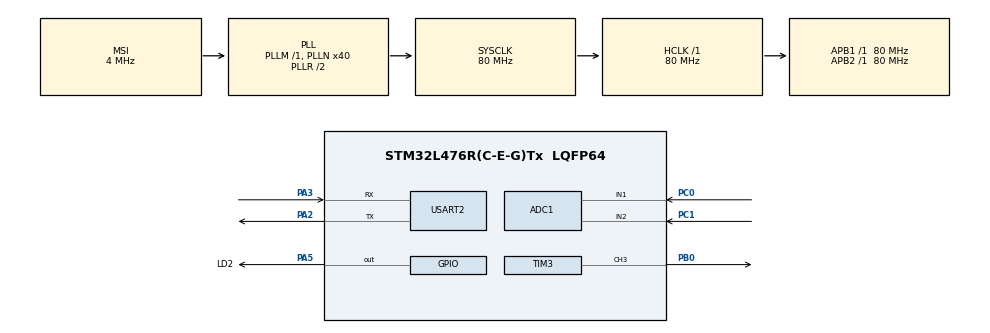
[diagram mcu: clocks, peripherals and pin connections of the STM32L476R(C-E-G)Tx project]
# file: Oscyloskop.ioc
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ADC1.Channel-2\#ChannelRegularConversion=ADC_CHANNEL_1
ADC1.Channel-3\#ChannelRegularConversion=ADC_CHANNEL_2
ADC1.ClockPrescaler=ADC_CLOCK_ASYNC_DIV8
ADC1.ContinuousConvMode=ENABLE
ADC1.DMAContinuousRequests=ENABLE
ADC1.EOCSelection=ADC_EOC_SINGLE_CONV
ADC1.EnableRegularConversion=ENABLE
ADC1.ExternalTrigConv=ADC_EXTERNALTRIG_T3_TRGO
ADC1.NbrOfConversion=2
ADC1.NbrOfConversionFlag=1
ADC1.OffsetNumber-2\#ChannelRegularConversion=ADC_OFFSET_NONE
ADC1.OffsetNumber-3\#ChannelRegularConversion=ADC_OFFSET_NONE
ADC1.Overrun=ADC_OVR_DATA_OVERWRITTEN
ADC1.OversamplingMode=ENABLE
ADC1.Rank-2\#ChannelRegularConversion=1
ADC1.Rank-3\#ChannelRegularConversion=2
ADC1.Ratio=ADC_OVERSAMPLING_RATIO_64
ADC1.RightBitShift=ADC_RIGHTBITSHIFT_6
ADC1.SamplingTime-2\#ChannelRegularConversion=ADC_SAMPLETIME_640CYCLES_5
ADC1.SamplingTime-3\#ChannelRegularConversion=ADC_SAMPLETIME_640CYCLES_5
ADC1.master=1
Dma.ADC1.0.Direction=DMA_PERIPH_TO_MEMORY
Dma.ADC1.0.Instance=DMA1_Channel1
Dma.ADC1.0.MemDataAlignment=DMA_MDATAALIGN_HALFWORD
Dma.ADC1.0.MemInc=DMA_MINC_ENABLE
Dma.ADC1.0.Mode=DMA_CIRCULAR
Dma.ADC1.0.PeriphDataAlignment=DMA_PDATAALIGN_HALFWORD
Dma.ADC1.0.PeriphInc=DMA_PINC_DISABLE
Dma.ADC1.0.Priority=DMA_PRIORITY_LOW
Dma.Request0=ADC1
Dma.Request1=USART2_TX
Dma.USART2_TX.1.Direction=DMA_MEMORY_TO_PERIPH
Dma.USART2_TX.1.Instance=DMA1_Channel7
Dma.USART2_TX.1.MemDataAlignment=DMA_MDATAALIGN_BYTE
Dma.USART2_TX.1.MemInc=DMA_MINC_ENABLE
Dma.USART2_TX.1.Mode=DMA_NORMAL
Dma.USART2_TX.1.PeriphDataAlignment=DMA_PDATAALIGN_BYTE
Dma.USART2_TX.1.PeriphInc=DMA_PINC_DISABLE
Dma.USART2_TX.1.Priority=DMA_PRIORITY_LOW
Mcu.Family=STM32L4
Mcu.Name=STM32L476R(C-E-G)Tx
Mcu.Package=LQFP64
NVIC.DMA1_Channel1_IRQn=true\:2\:0\:true\:false\:true\:false\:true\:true
NVIC.DMA1_Channel7_IRQn=true\:3\:0\:true\:false\:true\:true\:true\:true
NVIC.PriorityGroup=NVIC_PRIORITYGROUP_4
NVIC.TIM3_IRQn=true\:4\:0\:true\:false\:true\:true\:true\:true
NVIC.USART2_IRQn=true\:3\:0\:true\:false\:true\:true\:true\:true
PA2.Mode=Asynchronous
PA2.Signal=USART2_TX
PA3.Mode=Asynchronous
PA3.Signal=USART2_RX
PA5.GPIO_Label=LD2
PA5.Signal=GPIO_Output
PB0.Signal=S_TIM3_CH3
PC0.Signal=ADCx_IN1
PC1.Signal=ADCx_IN2
PC14-OSC32_IN\ (PC14).Mode=LSE-External-Oscillator
PC14-OSC32_IN\ (PC14).Signal=RCC_OSC32_IN
PC15-OSC32_OUT\ (PC15).Mode=LSE-External-Oscillator
PC15-OSC32_OUT\ (PC15).Signal=RCC_OSC32_OUT
ProjectManager.HeapSize=0x200
ProjectManager.StackSize=0x400
ProjectManager.TargetToolchain=STM32CubeIDE
RCC.ADCFreq_Value=32000000
RCC.AHBFreq_Value=80000000
RCC.APB1Freq_Value=80000000
RCC.APB1TimFreq_Value=80000000
RCC.APB2Freq_Value=80000000
RCC.APB2TimFreq_Value=80000000
RCC.CortexFreq_Value=80000000
RCC.HCLKFreq_Value=80000000
RCC.HSE_VALUE=8000000
RCC.HSI_VALUE=16000000
RCC.MSI_VALUE=4000000
RCC.PLLN=40
RCC.PLLSAI1N=16
RCC.SYSCLKFreq_VALUE=80000000
RCC.SYSCLKSource=RCC_SYSCLKSOURCE_PLLCLK
RCC.USBFreq_Value=32000000
RCC.VCOOutputFreq_Value=160000000
SH.ADCx_IN1.0=ADC1_IN1,IN1-Single-Ended
SH.ADCx_IN2.0=ADC1_IN2,IN2-Single-Ended
SH.S_TIM3_CH3.0=TIM3_CH3,PWM Generation3 CH3
TIM3.Channel-PWM\ Generation3\ CH3=TIM_CHANNEL_3
TIM3.Period=9
TIM3.Prescaler=100
TIM3.Pulse-PWM\ Generation3\ CH3=5
TIM3.TIM_MasterOutputTrigger=TIM_TRGO_UPDATE
USART2.OverrunDisableParam=ADVFEATURE_OVERRUN_DISABLE
USART2.VirtualMode-Asynchronous=VM_ASYNC
VP_ADC1_Vref_Input.Mode=IN-Vrefint
VP_TIM3_VS_ClockSourceINT.Mode=Internal
board=custom

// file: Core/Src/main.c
/* USER CODE BEGIN Header */
/**
  ******************************************************************************
  * @file           : main.c
  * @brief          : Main program body
  ******************************************************************************
  * @attention
  *
  * Copyright (c) 2024 STMicroelectronics.
  * All rights reserved.
  *
  * This software is licensed under terms that can be found in the LICENSE file
  * in the root directory of this software component.
  * If no LICENSE file comes with this software, it is provided AS-IS.
  *
  ******************************************************************************
  */
/* USER CODE END Header */
#include "main.h"
#include "adc.h"
#include "dma.h"
#include "tim.h"
#include "usart.h"
#include "gpio.h"

/* USER CODE BEGIN Includes */

#include <stdio.h>

#define ARM_MATH_CM4
#include "arm_math.h"

/* USER CODE END Includes */

/* USER CODE BEGIN PV */

#define FFT_BUFFER_SIZE 2048
#define SAMPLE_RATE 80000 // Częstotliwość próbkowania ADC w Hz
volatile static uint32_t adc_value[2][FFT_BUFFER_SIZE]; // Bufor do przechowywania danych z dwóch kanałów
uint32_t buffer1[FFT_BUFFER_SIZE];
uint32_t buffer2[FFT_BUFFER_SIZE];
float32_t fft_output_1[FFT_BUFFER_SIZE];
float32_t fft_output_2[FFT_BUFFER_SIZE];
float32_t fft_magnitude_1[FFT_BUFFER_SIZE]; // Tablica do przechowywania magnitudy FFT dla kanału 1
float32_t fft_magnitude_2[FFT_BUFFER_SIZE]; // Tablica do przechowywania magnitudy FFT dla kanału 2
arm_rfft_fast_instance_f32 fft_handler; // Inicjalizacja instancji FFT

#define DATA_SIZE 100 // Rozmiar bufora danych do wysłania przez UART
char data[DATA_SIZE]; // Bufor danych do wysłania przez UART
float32_t fft_output_1[FFT_BUFFER_SIZE];
float32_t fft_output_2[FFT_BUFFER_SIZE];

uint8_t Buffer_FFT_Status = 0; // Zmienna do śledzenia statusu bufora FFT
uint8_t Calculation_finished = 1; // Zmienna do śledzenia, czy obliczenia zostały zakończone

int buf_index = 0;
//uint16_t data[20];
volatile static uint16_t value[2];

/* USER CODE END PV */

void SystemClock_Config(void);
/* USER CODE BEGIN PFP */
void process_fft_data(uint32_t *adc_data, float32_t *fft_output, float32_t *fft_magnitude, uint32_t fft_size, float sample_rate);
/* USER CODE END PFP */

/* USER CODE BEGIN 0 */

int __io_putchar(int ch)
{
    if (ch == '\n') {
        uint8_t ch2 = '\r';
        HAL_UART_Transmit(&huart2, &ch2, 1, HAL_MAX_DELAY);
    }

    HAL_UART_Transmit(&huart2, (uint8_t*)&ch, 1, HAL_MAX_DELAY);
    return 1;
}
void process_fft_data(uint32_t *adc_data, float32_t *fft_output, float32_t *fft_magnitude, uint32_t fft_size, float sample_rate)
{
	//if(Buffer_FFT_Status==1)
	      //{
	// 1. Stosuje FFT na dane z ADC

    arm_rfft_fast_f32(&fft_handler, (float32_t*)adc_data, fft_output, 0);

    // 2. Wydzielenie wartości rzeczywistej i urojonej
        float32_t real_values[fft_size/2];
        float32_t imag_values[fft_size/2];
        for (int i = 0; i < fft_size/2; i++) {
            real_values[i] = fft_output[2*i];
            imag_values[i] = fft_output[2*i + 1];
        }

    // 3. Oblicza przesunięcie fazowe dla każdego prążka
        float32_t phase_shift[fft_size/2];
        for (int i = 0; i < fft_size/2; i++) {
            phase_shift[i] = atan2(imag_values[i], real_values[i]);
        }

    // 4. Oblicza moduł (magnitudę) FFT z wartości rzeczywistej i urojonej dla każdego z prążków
    arm_cmplx_mag_f32(fft_output, fft_magnitude, fft_size);

    // 5. Znajduje dominującą częstotliwość
    uint32_t maxIndex;
    float32_t maxValue;
    arm_max_f32(fft_magnitude, fft_size, &maxValue, &maxIndex);
    float32_t dominant_frequency = (float)maxIndex * (sample_rate / fft_size);

    // 6. Przesunięcie fazowe maksymalnego prążka
    float32_t max_phase_shift = phase_shift[maxIndex];
    printf("Przesunięcie fazowe maksymalnego prążka: %f rad\n", max_phase_shift);
    printf("Dominująca częstotliwość: %f Hz\n", dominant_frequency);

    // 7. Filtruj wyniki FFT
    /*
    float32_t threshold = 0.5; // Ustaw próg na odpowiednią wartość
    for (int i = 0; i < FFT_BUFFER_SIZE; i++) {
        if (fft_magnitude[i] < threshold) {
            fft_magnitude[i] = 0;
        }
    }*/
    /*Informacja o zakończeniu obliczeń*/
    //Calculation_finished=1;
    /*Zerowanie wartości maksymalnej*/
    //maxValue=0;
}
//}

void collect_adc_data() {

	buffer1[buf_index] = value[0];
	//printf("%u \n", value[0]);
	buffer2[buf_index] = value[1];
	buf_index = (buf_index + 1) % FFT_BUFFER_SIZE;

}

//uint16_t data[20];
//volatile static uint16_t value[2];
//HAL_UART_TxCpltCallback //analogiczna funkcja, dane są wysyłane po zakończeniu poprzedniej transmisji
void HAL_UART_TxHalfCpltCallback(UART_HandleTypeDef *huart)	//dane są przygotowywane w połowie wysyłania poprzedniej transmisji
{
	//collect_adc_data();
	//sprintf(data, "CH1 %d,CH2 %d\r\n", value[0], value[1]);
	//sprintf(data, "%d\r\n", value[1]);
	//data[0] = "%u\n" + data[0];

}
/*
void print_buffer_in_one_line(uint32_t* buffer, size_t size) {
    printf("[");
    for (int i = 0; i < size; i++) {
        printf("%u", buffer[i]);
        if (i < size - 1) {
            printf(", ");
        }
    }
    printf("]\n");
}*/

void HAL_ADC_ConvCpltCallback(ADC_HandleTypeDef* hadc) //wywoływana gdy konwersja ADC jest zakończona
{

	if(hadc->Instance == ADC1)
	    {
		collect_adc_data();
		//printf("Dominująca częstotliwość: %d Hz\n", buf_index);
		if (buf_index == FFT_BUFFER_SIZE-1){
			//process_fft_data(buffer1, fft_output_1, fft_magnitude_1, FFT_BUFFER_SIZE, SAMPLE_RATE);
			//process_fft_data(buffer2, fft_output_2, fft_magnitude_2, FFT_BUFFER_SIZE, SAMPLE_RATE);

			//print_buffer_in_one_line(buffer1, FFT_BUFFER_SIZE);
		}

	        //if(Calculation_finished==1 )
	        //{
	        //    Calculation_finished=0;
	        //    Buffer_FFT_Status=1;
	            //process_fft_data(adc_value[0], fft_output_1, fft_magnitude_1, FFT_BUFFER_SIZE, SAMPLE_RATE);
	        //}

	        //process_fft_data(adc_value[0], fft_output_1, fft_magnitude_1, FFT_BUFFER_SIZE, SAMPLE_RATE);
	        //process_fft_data(adc_value[1], fft_output_2, fft_magnitude_2, FFT_BUFFER_SIZE, SAMPLE_RATE);

	        //snprintf(data, DATA_SIZE, "CH1 %d,CH2 %d\r\n", fft_output_1, fft_output_2);
			//TUTAJ UART
			//snprintf(data, DATA_SIZE, "CH1 %d\r\n", value[0]);
			//snprintf(data, DATA_SIZE, "%d, %d, %d, %d\r\n", value[0], value[1], value[0], value[1]);
	        snprintf(data, DATA_SIZE, "CH1 %d,CH2 %d\r\n", value[0], value[1]);
	        // Wyślij dane przez UART
	        HAL_UART_Transmit_DMA(&huart2, (uint8_t*)data, sizeof(data));
	    }
}

/* USER CODE END 0 */

int main(void)
{

  /* MCU Configuration--------------------------------------------------------*/

  /* Reset of all peripherals, Initializes the Flash interface and the Systick. */
  HAL_Init();

  /* Configure the system clock */
  SystemClock_Config();

  /* Initialize all configured peripherals */
  MX_GPIO_Init();
  MX_DMA_Init();
  MX_USART2_UART_Init();
  MX_ADC1_Init();
  MX_TIM3_Init();
  /* USER CODE BEGIN 2 */

  /* Inicjalizacja instancji FFT */
  arm_rfft_fast_init_f32(&fft_handler, FFT_BUFFER_SIZE);

#define LINE_MAX_LENGTH	80

static char line_buffer[LINE_MAX_LENGTH + 1];
static uint32_t line_length;

void line_append(uint8_t value)
{
	if (value == '\r' || value == '\n') {
		// odebraliśmy znak końca linii
		if (line_length > 0) {
			// dodajemy 0 na końcu linii
			line_buffer[line_length] = '\0';
			// przetwarzamy dane
			if (strcmp(line_buffer, "on") == 0) {
				HAL_GPIO_WritePin(LD2_GPIO_Port, LD2_Pin, GPIO_PIN_SET);
			} else if (strcmp(line_buffer, "off") == 0) {
				HAL_GPIO_WritePin(LD2_GPIO_Port, LD2_Pin, GPIO_PIN_RESET);
			} else {
				printf("Nieznane polecenie: %s\n", line_buffer);
			}
			// zaczynamy zbieranie danych od nowa
			line_length = 0;
		}
	}
	else {
		if (line_length >= LINE_MAX_LENGTH) {
			// za dużo danych, usuwamy wszystko co odebraliśmy dotychczas
			line_length = 0;
		}
		// dopisujemy wartość do bufora
		line_buffer[line_length++] = value;
	}
}

  /* USER CODE END 2 */

  /* Infinite loop */
  /* USER CODE BEGIN WHILE */

HAL_ADCEx_Calibration_Start(&hadc1, ADC_SINGLE_ENDED);
HAL_TIM_Base_Start(&htim3);
HAL_ADC_Start_DMA(&hadc1, (uint32_t*)value, 2);
//HAL_ADC_Start_DMA(&hadc1, (uint32_t*)adc_value, 2 * FFT_BUFFER_SIZE);

HAL_TIM_PWM_Start(&htim3, TIM_CHANNEL_3);

//uint32_t *channel_1_data = adc_value[0];
//uint32_t *channel_2_data = adc_value[1];

while (1)
{

	//HAL_UART_Transmit_DMA(&huart2, (uint8_t*)data, sizeof(data));

	  //uint8_t message;

	  //if (HAL_UART_Receive(&huart2, &message, 1, 0) == HAL_OK)
	  	//line_append(message);

    /* USER CODE END WHILE */

}
}

void SystemClock_Config(void)
{
  RCC_OscInitTypeDef RCC_OscInitStruct = {0};
  RCC_ClkInitTypeDef RCC_ClkInitStruct = {0};

  /** Configure the main internal regulator output voltage
  */
  if (HAL_PWREx_ControlVoltageScaling(PWR_REGULATOR_VOLTAGE_SCALE1) != HAL_OK)
  {
    Error_Handler();
  }

  /** Configure LSE Drive Capability
  */
  HAL_PWR_EnableBkUpAccess();
  __HAL_RCC_LSEDRIVE_CONFIG(RCC_LSEDRIVE_LOW);

  /** Initializes the RCC Oscillators according to the specified parameters
  * in the RCC_OscInitTypeDef structure.
  */
  RCC_OscInitStruct.OscillatorType = RCC_OSCILLATORTYPE_LSE|RCC_OSCILLATORTYPE_MSI;
  RCC_OscInitStruct.LSEState = RCC_LSE_ON;
  RCC_OscInitStruct.MSIState = RCC_MSI_ON;
  RCC_OscInitStruct.MSICalibrationValue = 0;
  RCC_OscInitStruct.MSIClockRange = RCC_MSIRANGE_6;
  RCC_OscInitStruct.PLL.PLLState = RCC_PLL_ON;
  RCC_OscInitStruct.PLL.PLLSource = RCC_PLLSOURCE_MSI;
  RCC_OscInitStruct.PLL.PLLM = 1;
  RCC_OscInitStruct.PLL.PLLN = 40;
  RCC_OscInitStruct.PLL.PLLP = RCC_PLLP_DIV7;
  RCC_OscInitStruct.PLL.PLLQ = RCC_PLLQ_DIV2;
  RCC_OscInitStruct.PLL.PLLR = RCC_PLLR_DIV2;
  if (HAL_RCC_OscConfig(&RCC_OscInitStruct) != HAL_OK)
  {
    Error_Handler();
  }

  /** Initializes the CPU, AHB and APB buses clocks
  */
  RCC_ClkInitStruct.ClockType = RCC_CLOCKTYPE_HCLK|RCC_CLOCKTYPE_SYSCLK
                              |RCC_CLOCKTYPE_PCLK1|RCC_CLOCKTYPE_PCLK2;
  RCC_ClkInitStruct.SYSCLKSource = RCC_SYSCLKSOURCE_PLLCLK;
  RCC_ClkInitStruct.AHBCLKDivider = RCC_SYSCLK_DIV1;
  RCC_ClkInitStruct.APB1CLKDivider = RCC_HCLK_DIV1;
  RCC_ClkInitStruct.APB2CLKDivider = RCC_HCLK_DIV1;

  if (HAL_RCC_ClockConfig(&RCC_ClkInitStruct, FLASH_LATENCY_4) != HAL_OK)
  {
    Error_Handler();
  }

  /** Enable MSI Auto calibration
  */
  HAL_RCCEx_EnableMSIPLLMode();
}

void Error_Handler(void)
{
__disable_irq();
while (1)
{
}
}
